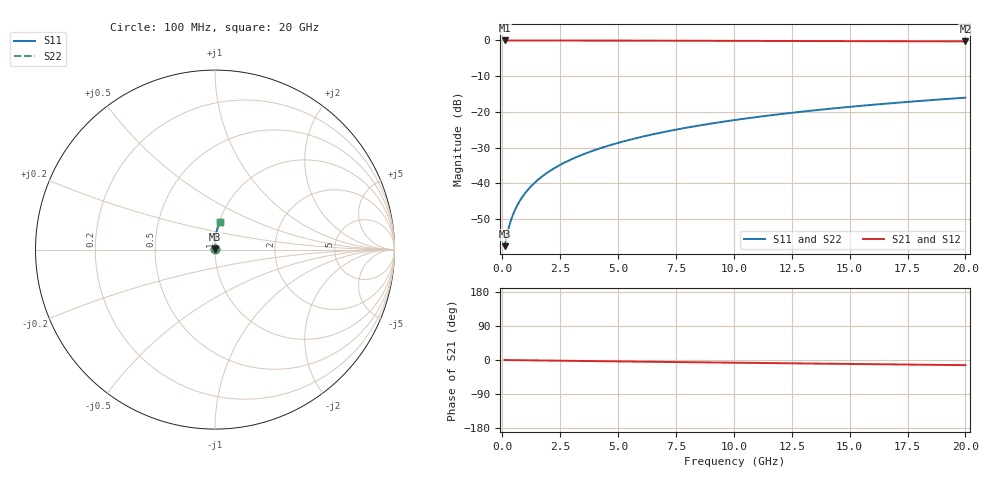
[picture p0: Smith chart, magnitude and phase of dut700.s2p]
! Touchstone file exported from HFSS 2024.1.0
!  File:  C:/UserFiles/LocalFiles/RDL_TSV_Batchsim/temp_RDL_bottom_700_1779857530.aedt
!  Generated:  12:54:59 PM May 27, 2026
!  Design:  RDL_bottom
!  Project:  temp_RDL_bottom_700_1779857530
!  Setup:  Setup1
!  Solution:  Sweep
! Variables:
!  dtsv = 10.80580581um
!  hbump = 3um
!  htsv = 99.35um
!  ldown = 155.44um
!  lrdl = 100um
!  p = 40
!  p1 = 47.33um
!  rhole = 1um
!  t = 450um
!  tdown = 3.3um
!  trdl = 3.915915916um
!  wdown = 19.78um
!  wrdl = 20um
# GHz S MA R 50.000000
! Terminal data exported
! Port[1] = RDL1_T1
! Port[2] = RDL1_T2
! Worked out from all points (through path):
!   200 points, 100 MHz to 20 GHz, reference 50 ohm
!   highest |S21| = -0.01 dB at 100 MHz (marker M1); lowest = -0.3 dB at 20 GHz (marker M2)
!   group delay of S21, straight-line fit = 1.87 ps
!   lowest |S11| = -57.6 dB at 100 MHz (marker M3), VSWR 1.00, Z = 50.1 + j0.0778 ohm
!   |S11| at or under -10 dB: start of sweep to end of sweep
!   |S22| runs from -57.6 to -16.0 dB; largest |S21 - S12| = 2.6e-15
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0.1  0.001323 35.9  0.9989 -0.1  0.9989 -0.1  0.001323 35.9
! Gamma 0 0 0 0
! Port Impedance 50 0 50 0
0.2  0.001893 54.3  0.9989 -0.2  0.9989 -0.2  0.001893 54.3
0.3  0.002548 63.3  0.9988 -0.2  0.9988 -0.2  0.002548 63.3
0.4  0.003226 68.6  0.9988 -0.3  0.9988 -0.3  0.003226 68.6
0.5  0.00391 72.0  0.9987 -0.4  0.9987 -0.4  0.00391 72.0
0.6  0.004599 74.5  0.9987 -0.5  0.9987 -0.5  0.004599 74.5
0.8  0.005987 77.9  0.9986 -0.6  0.9986 -0.6  0.005987 77.9
1.1  0.008094 81.0  0.9985 -0.8  0.9985 -0.8  0.008094 81.0
1.5  0.01094 83.4  0.9983 -1.1  0.9983 -1.1  0.01094 83.4
1.8  0.01309 84.5  0.9981 -1.4  0.9981 -1.4  0.01309 84.5
2.1  0.01525 85.3  0.9979 -1.6  0.9979 -1.6  0.01525 85.3
2.7  0.01962 86.4  0.9973 -2.0  0.9973 -2.0  0.01962 86.4
3.5  0.02553 87.3  0.9965 -2.6  0.9965 -2.6  0.02553 87.3
4.2  0.03078 87.7  0.9956 -3.1  0.9956 -3.1  0.03078 87.7
5  0.03688 88.0  0.9945 -3.7  0.9945 -3.7  0.03688 88.0
5.9  0.04384 88.0  0.9932 -4.4  0.9932 -4.4  0.04384 88.0
6.8  0.05091 87.9  0.9918 -5.0  0.9918 -5.0  0.05091 87.9
8.4  0.0637 87.4  0.9891 -6.1  0.9891 -6.1  0.0637 87.4
10.1  0.0775 86.6  0.9862 -7.2  0.9862 -7.2  0.0775 86.6
13.4  0.1046 84.6  0.9805 -9.4  0.9805 -9.4  0.1046 84.6
16.7  0.1315 82.4  0.9749 -11.5  0.9749 -11.5  0.1315 82.4
20  0.1582 80.0  0.9691 -13.6  0.9691 -13.6  0.1582 80.0
